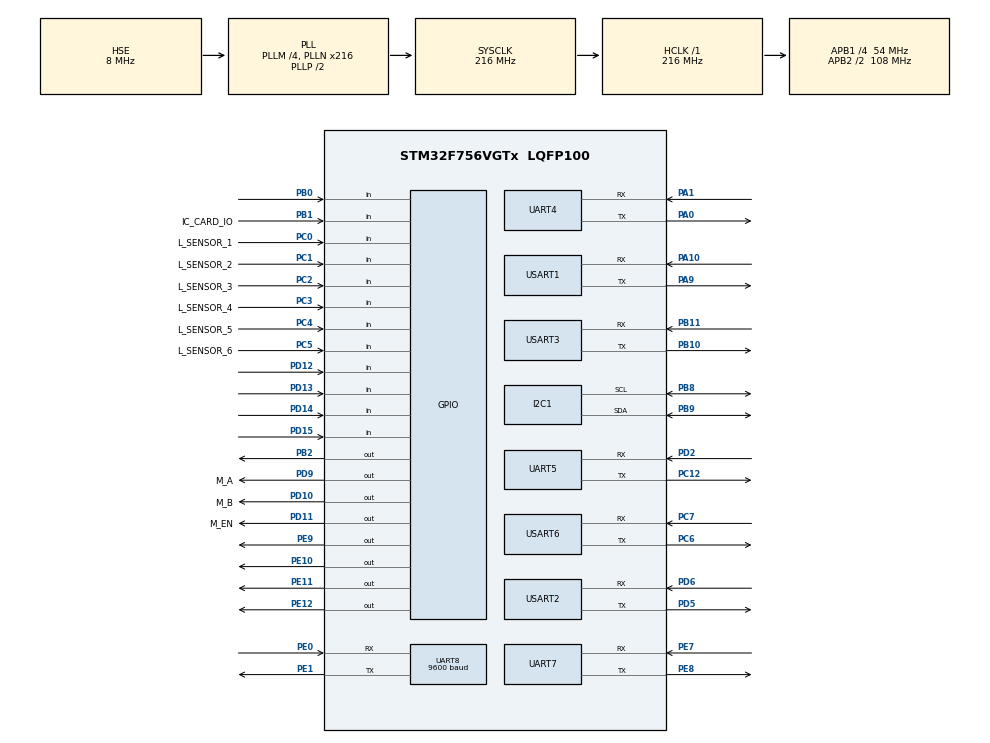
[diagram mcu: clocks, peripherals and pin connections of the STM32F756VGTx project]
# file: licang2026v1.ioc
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CORTEX_M7.default_mode_Activation=1
Dma.Request0=UART7_RX
Dma.Request1=UART8_RX
Dma.Request2=USART1_RX
Dma.Request3=USART2_RX
Dma.Request4=USART3_TX
Dma.Request5=USART3_RX
Dma.Request6=UART4_RX
Dma.Request7=UART5_RX
Dma.Request8=USART6_RX
Dma.UART4_RX.6.Direction=DMA_PERIPH_TO_MEMORY
Dma.UART4_RX.6.FIFOMode=DMA_FIFOMODE_DISABLE
Dma.UART4_RX.6.Instance=DMA1_Stream2
Dma.UART4_RX.6.MemDataAlignment=DMA_MDATAALIGN_BYTE
Dma.UART4_RX.6.MemInc=DMA_MINC_ENABLE
Dma.UART4_RX.6.Mode=DMA_NORMAL
Dma.UART4_RX.6.PeriphDataAlignment=DMA_PDATAALIGN_BYTE
Dma.UART4_RX.6.PeriphInc=DMA_PINC_DISABLE
Dma.UART4_RX.6.Priority=DMA_PRIORITY_LOW
Dma.UART5_RX.7.Direction=DMA_PERIPH_TO_MEMORY
Dma.UART5_RX.7.FIFOMode=DMA_FIFOMODE_DISABLE
Dma.UART5_RX.7.Instance=DMA1_Stream0
Dma.UART5_RX.7.MemDataAlignment=DMA_MDATAALIGN_BYTE
Dma.UART5_RX.7.MemInc=DMA_MINC_ENABLE
Dma.UART5_RX.7.Mode=DMA_NORMAL
Dma.UART5_RX.7.PeriphDataAlignment=DMA_PDATAALIGN_BYTE
Dma.UART5_RX.7.PeriphInc=DMA_PINC_DISABLE
Dma.UART5_RX.7.Priority=DMA_PRIORITY_LOW
Dma.UART7_RX.0.Direction=DMA_PERIPH_TO_MEMORY
Dma.UART7_RX.0.FIFOMode=DMA_FIFOMODE_DISABLE
Dma.UART7_RX.0.Instance=DMA1_Stream3
Dma.UART7_RX.0.MemDataAlignment=DMA_MDATAALIGN_BYTE
Dma.UART7_RX.0.MemInc=DMA_MINC_ENABLE
Dma.UART7_RX.0.Mode=DMA_NORMAL
Dma.UART7_RX.0.PeriphDataAlignment=DMA_PDATAALIGN_BYTE
Dma.UART7_RX.0.PeriphInc=DMA_PINC_DISABLE
Dma.UART7_RX.0.Priority=DMA_PRIORITY_LOW
Dma.UART8_RX.1.Direction=DMA_PERIPH_TO_MEMORY
Dma.UART8_RX.1.FIFOMode=DMA_FIFOMODE_DISABLE
Dma.UART8_RX.1.Instance=DMA1_Stream6
Dma.UART8_RX.1.MemDataAlignment=DMA_MDATAALIGN_BYTE
Dma.UART8_RX.1.MemInc=DMA_MINC_ENABLE
Dma.UART8_RX.1.Mode=DMA_NORMAL
Dma.UART8_RX.1.PeriphDataAlignment=DMA_PDATAALIGN_BYTE
Dma.UART8_RX.1.PeriphInc=DMA_PINC_DISABLE
Dma.UART8_RX.1.Priority=DMA_PRIORITY_LOW
Dma.USART1_RX.2.Direction=DMA_PERIPH_TO_MEMORY
Dma.USART1_RX.2.FIFOMode=DMA_FIFOMODE_DISABLE
Dma.USART1_RX.2.Instance=DMA2_Stream2
Dma.USART1_RX.2.MemDataAlignment=DMA_MDATAALIGN_BYTE
Dma.USART1_RX.2.MemInc=DMA_MINC_ENABLE
Dma.USART1_RX.2.Mode=DMA_NORMAL
Dma.USART1_RX.2.PeriphDataAlignment=DMA_PDATAALIGN_BYTE
Dma.USART1_RX.2.PeriphInc=DMA_PINC_DISABLE
Dma.USART1_RX.2.Priority=DMA_PRIORITY_LOW
Dma.USART2_RX.3.Direction=DMA_PERIPH_TO_MEMORY
Dma.USART2_RX.3.FIFOMode=DMA_FIFOMODE_DISABLE
Dma.USART2_RX.3.Instance=DMA1_Stream5
Dma.USART2_RX.3.MemDataAlignment=DMA_MDATAALIGN_BYTE
Dma.USART2_RX.3.MemInc=DMA_MINC_ENABLE
Dma.USART2_RX.3.Mode=DMA_NORMAL
Dma.USART2_RX.3.PeriphDataAlignment=DMA_PDATAALIGN_BYTE
Dma.USART2_RX.3.PeriphInc=DMA_PINC_DISABLE
Dma.USART2_RX.3.Priority=DMA_PRIORITY_LOW
Dma.USART3_RX.5.Direction=DMA_PERIPH_TO_MEMORY
Dma.USART3_RX.5.FIFOMode=DMA_FIFOMODE_DISABLE
Dma.USART3_RX.5.Instance=DMA1_Stream1
Dma.USART3_RX.5.MemDataAlignment=DMA_MDATAALIGN_BYTE
Dma.USART3_RX.5.MemInc=DMA_MINC_ENABLE
Dma.USART3_RX.5.Mode=DMA_NORMAL
Dma.USART3_RX.5.PeriphDataAlignment=DMA_PDATAALIGN_BYTE
Dma.USART3_RX.5.PeriphInc=DMA_PINC_DISABLE
Dma.USART3_RX.5.Priority=DMA_PRIORITY_LOW
Dma.USART3_TX.4.Direction=DMA_MEMORY_TO_PERIPH
Dma.USART3_TX.4.FIFOMode=DMA_FIFOMODE_DISABLE
Dma.USART3_TX.4.Instance=DMA1_Stream4
Dma.USART3_TX.4.MemDataAlignment=DMA_MDATAALIGN_BYTE
Dma.USART3_TX.4.MemInc=DMA_MINC_ENABLE
Dma.USART3_TX.4.Mode=DMA_NORMAL
Dma.USART3_TX.4.PeriphDataAlignment=DMA_PDATAALIGN_BYTE
Dma.USART3_TX.4.PeriphInc=DMA_PINC_DISABLE
Dma.USART3_TX.4.Priority=DMA_PRIORITY_LOW
Dma.USART6_RX.8.Direction=DMA_PERIPH_TO_MEMORY
Dma.USART6_RX.8.FIFOMode=DMA_FIFOMODE_DISABLE
Dma.USART6_RX.8.Instance=DMA2_Stream1
Dma.USART6_RX.8.MemDataAlignment=DMA_MDATAALIGN_BYTE
Dma.USART6_RX.8.MemInc=DMA_MINC_ENABLE
Dma.USART6_RX.8.Mode=DMA_NORMAL
Dma.USART6_RX.8.PeriphDataAlignment=DMA_PDATAALIGN_BYTE
Dma.USART6_RX.8.PeriphInc=DMA_PINC_DISABLE
Dma.USART6_RX.8.Priority=DMA_PRIORITY_LOW
FREERTOS.Tasks01=defaultTask,24,512,StartDefaultTask,Default,NULL,Dynamic,NULL,NULL
FREERTOS.configTOTAL_HEAP_SIZE=60000
I2C1.Timing=0x20404768
Mcu.Family=STM32F7
Mcu.Name=STM32F756VGTx
Mcu.Package=LQFP100
NVIC.DMA1_Stream0_IRQn=true\:5\:0\:false\:false\:true\:true\:false\:true\:true
NVIC.DMA1_Stream1_IRQn=true\:5\:0\:false\:false\:true\:true\:false\:true\:true
NVIC.DMA1_Stream2_IRQn=true\:5\:0\:false\:false\:true\:true\:false\:true\:true
NVIC.DMA1_Stream3_IRQn=true\:5\:0\:false\:false\:true\:true\:false\:true\:true
NVIC.DMA1_Stream4_IRQn=true\:5\:0\:false\:false\:true\:true\:false\:true\:true
NVIC.DMA1_Stream5_IRQn=true\:5\:0\:false\:false\:true\:true\:false\:true\:true
NVIC.DMA1_Stream6_IRQn=true\:5\:0\:false\:false\:true\:true\:false\:true\:true
NVIC.DMA2_Stream1_IRQn=true\:5\:0\:false\:false\:true\:true\:false\:true\:true
NVIC.DMA2_Stream2_IRQn=true\:5\:0\:false\:false\:true\:true\:false\:true\:true
NVIC.PriorityGroup=NVIC_PRIORITYGROUP_4
NVIC.TIM4_IRQn=true\:15\:0\:false\:false\:true\:false\:false\:true\:true
NVIC.TimeBase=TIM4_IRQn
NVIC.TimeBaseIP=TIM4
NVIC.UART4_IRQn=true\:5\:0\:false\:false\:true\:true\:true\:true\:true
NVIC.UART5_IRQn=true\:5\:0\:false\:false\:true\:true\:true\:true\:true
NVIC.UART7_IRQn=true\:5\:0\:false\:false\:true\:true\:true\:true\:true
NVIC.UART8_IRQn=true\:5\:0\:false\:false\:true\:true\:true\:true\:true
NVIC.USART1_IRQn=true\:5\:0\:false\:false\:true\:true\:true\:true\:true
NVIC.USART2_IRQn=true\:5\:0\:false\:false\:true\:true\:true\:true\:true
NVIC.USART3_IRQn=true\:5\:0\:false\:false\:true\:true\:true\:true\:true
NVIC.USART6_IRQn=true\:5\:0\:false\:false\:true\:true\:true\:true\:true
PA0/WKUP.Mode=Asynchronous
PA0/WKUP.Signal=UART4_TX
PA1.Mode=Asynchronous
PA1.Signal=UART4_RX
PA10.Mode=Asynchronous
PA10.Signal=USART1_RX
PA13.Mode=Serial_Wire
PA13.Signal=SYS_JTMS-SWDIO
PA14.Mode=Serial_Wire
PA14.Signal=SYS_JTCK-SWCLK
PA9.Mode=Asynchronous
PA9.Signal=USART1_TX
PB0.GPIO_PuPd=GPIO_PULLUP
PB0.Signal=GPIO_Input
PB1.GPIO_Label=IC_CARD_IO
PB1.Signal=GPIO_Input
PB10.Mode=Asynchronous
PB10.Signal=USART3_TX
PB11.Mode=Asynchronous
PB11.Signal=USART3_RX
PB2.PinState=GPIO_PIN_SET
PB2.Signal=GPIO_Output
PB8.Mode=I2C
PB8.Signal=I2C1_SCL
PB9.Mode=I2C
PB9.Signal=I2C1_SDA
PC0.GPIO_Label=L_SENSOR_1
PC0.GPIO_PuPd=GPIO_PULLUP
PC0.Signal=GPIO_Input
PC1.GPIO_Label=L_SENSOR_2
PC1.GPIO_PuPd=GPIO_PULLUP
PC1.Signal=GPIO_Input
PC12.Mode=Asynchronous
PC12.Signal=UART5_TX
PC2.GPIO_Label=L_SENSOR_3
PC2.GPIO_PuPd=GPIO_PULLUP
PC2.Signal=GPIO_Input
PC3.GPIO_Label=L_SENSOR_4
PC3.GPIO_PuPd=GPIO_PULLUP
PC3.Signal=GPIO_Input
PC4.GPIO_Label=L_SENSOR_5
PC4.GPIO_PuPd=GPIO_PULLUP
PC4.Signal=GPIO_Input
PC5.GPIO_Label=L_SENSOR_6
PC5.GPIO_PuPd=GPIO_PULLUP
PC5.Signal=GPIO_Input
PC6.Mode=Asynchronous
PC6.Signal=USART6_TX
PC7.Mode=Asynchronous
PC7.Signal=USART6_RX
PD10.GPIO_Label=M_B
PD10.Signal=GPIO_Output
PD11.GPIO_Label=M_EN
PD11.PinState=GPIO_PIN_SET
PD11.Signal=GPIO_Output
PD12.Signal=GPIO_Input
PD13.Signal=GPIO_Input
PD14.Signal=GPIO_Input
PD15.Signal=GPIO_Input
PD2.Mode=Asynchronous
PD2.Signal=UART5_RX
PD5.Mode=Asynchronous
PD5.Signal=USART2_TX
PD6.Mode=Asynchronous
PD6.Signal=USART2_RX
PD9.GPIO_Label=M_A
PD9.Signal=GPIO_Output
PE0.Mode=Asynchronous
PE0.Signal=UART8_RX
PE1.Mode=Asynchronous
PE1.Signal=UART8_TX
PE10.GPIO_ModeDefaultOutputPP=GPIO_MODE_OUTPUT_PP
PE10.GPIO_PuPd=GPIO_NOPULL
PE10.PinState=GPIO_PIN_SET
PE10.Signal=GPIO_Output
PE11.GPIO_ModeDefaultOutputPP=GPIO_MODE_OUTPUT_PP
PE11.GPIO_PuPd=GPIO_NOPULL
PE11.PinState=GPIO_PIN_SET
PE11.Signal=GPIO_Output
PE12.GPIO_ModeDefaultOutputPP=GPIO_MODE_OUTPUT_PP
PE12.GPIO_PuPd=GPIO_NOPULL
PE12.PinState=GPIO_PIN_SET
PE12.Signal=GPIO_Output
PE7.Mode=Asynchronous
PE7.Signal=UART7_RX
PE8.Mode=Asynchronous
PE8.Signal=UART7_TX
PE9.GPIO_ModeDefaultOutputPP=GPIO_MODE_OUTPUT_OD
PE9.GPIO_PuPd=GPIO_NOPULL
PE9.PinState=GPIO_PIN_SET
PE9.Signal=GPIO_Output
PH0/OSC_IN.Mode=HSE-External-Oscillator
PH0/OSC_IN.Signal=RCC_OSC_IN
PH1/OSC_OUT.Mode=HSE-External-Oscillator
PH1/OSC_OUT.Signal=RCC_OSC_OUT
ProjectManager.HeapSize=0x200
ProjectManager.StackSize=0x400
ProjectManager.TargetToolchain=MDK-ARM V5.32
RCC.AHBFreq_Value=216000000
RCC.APB1CLKDivider=RCC_HCLK_DIV4
RCC.APB1Freq_Value=54000000
RCC.APB1TimFreq_Value=108000000
RCC.APB2CLKDivider=RCC_HCLK_DIV2
RCC.APB2Freq_Value=108000000
RCC.APB2TimFreq_Value=216000000
RCC.CortexFreq_Value=216000000
RCC.HCLKFreq_Value=216000000
RCC.HSE_VALUE=8000000
RCC.HSI_VALUE=16000000
RCC.LSE_VALUE=32768
RCC.PLLM=4
RCC.PLLN=216
RCC.PLLSourceVirtual=RCC_PLLSOURCE_HSE
RCC.SYSCLKFreq_VALUE=216000000
RCC.SYSCLKSource=RCC_SYSCLKSOURCE_PLLCLK
RCC.USBFreq_Value=216000000
RCC.VCOOutputFreq_Value=432000000
UART8.BaudRate=9600
USART1.VirtualMode-Asynchronous=VM_ASYNC
USART2.VirtualMode-Asynchronous=VM_ASYNC
USART3.VirtualMode-Asynchronous=VM_ASYNC
USART6.VirtualMode=VM_ASYNC
VP_FREERTOS_VS_CMSIS_V2.Mode=CMSIS_V2
VP_SYS_VS_tim4.Mode=TIM4
board=custom

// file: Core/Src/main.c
/* USER CODE BEGIN Header */
/**
  ******************************************************************************
  * @file           : main.c
  * @brief          : Main program body
  ******************************************************************************
  * @attention
  *
  * Copyright (c) 2026 STMicroelectronics.
  * All rights reserved.
  *
  * This software is licensed under terms that can be found in the LICENSE file
  * in the root directory of this software component.
  * If no LICENSE file comes with this software, it is provided AS-IS.
  *
  ******************************************************************************
  */
/* USER CODE END Header */
#include "main.h"
#include "cmsis_os.h"
#include "dma.h"
#include "i2c.h"
#include "usart.h"
#include "gpio.h"

/* USER CODE BEGIN Includes */
#include "test_config.h"

#if MULT_UART_BAREMETAL_TEST_ENABLED
#include "mult_uart_baremetal_test.h"
#endif

#if LSC16_BAREMETAL_TEST_ENABLED
#include "lsc16_baremetal_test.h"
#endif

#if IC_CARD_BAREMETAL_TEST_ENABLED
#include "ic_card_baremetal_test.h"
#endif

#if ZDT_TURNTABLE_BAREMETAL_TEST_ENABLED
#include "zdt_turntable_baremetal_test.h"
#endif

/* USER CODE END Includes */

void SystemClock_Config(void);
static void MPU_Config(void);
void MX_FREERTOS_Init(void);

int main(void)
{

  /* MPU Configuration--------------------------------------------------------*/
  MPU_Config();

  /* MCU Configuration--------------------------------------------------------*/

  /* Reset of all peripherals, Initializes the Flash interface and the Systick. */
  HAL_Init();

  /* Configure the system clock */
  SystemClock_Config();

  /* Initialize all configured peripherals */
  MX_GPIO_Init();
  MX_DMA_Init();
  MX_UART7_Init();
  MX_UART8_Init();
  MX_UART4_Init();
  MX_UART5_Init();
  MX_USART3_UART_Init();
  MX_USART6_UART_Init();
  MX_USART1_UART_Init();
  MX_USART2_UART_Init();
  MX_I2C1_Init();
  /* USER CODE BEGIN 2 */

#if MULT_UART_BAREMETAL_TEST_ENABLED
  /*
   * 裸机测试在调度器初始化之前独占UART7复用总线。
   * 开关关闭时整段代码被预处理器移除，不影响正式启动路径。
   */
  if (mult_uart_baremetal_test_init() != MULT_UART_OK)
  {
    Error_Handler();
  }

  while (1)
  {
    mult_uart_baremetal_test_process();
  }
#endif

#if LSC16_BAREMETAL_TEST_ENABLED
  /*
   * LSC16裸机测试在调度器启动前独占UART8。测试状态机和协议均位于05_Test
   * 与04_Bsp，main.c只保留装配入口，避免把临时运动逻辑混入正式启动流程。
   */
  if (lsc16_baremetal_test_init() != LSC16_OK)
  {
    Error_Handler();
  }

  while (1)
  {
    lsc16_baremetal_test_process();
  }
#endif

#if IC_CARD_BAREMETAL_TEST_ENABLED
  /*
   * IC卡裸机测试直连UART7，USART1只接电脑串口助手。测试状态机完全位于
   * 05_Test，main.c仅保留初始化和循环入口，避免临时协议污染正式App。
   */
  if (ic_card_baremetal_test_init() != IC_CARD_OK)
  {
    Error_Handler();
  }

  while (1)
  {
    ic_card_baremetal_test_process();
  }
#endif

#if ZDT_TURNTABLE_BAREMETAL_TEST_ENABLED
  /* ZDT独立测试直连UART7；协议、事务和运动配置全部位于分层模块与05_Test。 */
  if (zdt_turntable_baremetal_test_init() != ZDT_TURNTABLE_OK)
  {
    Error_Handler();
  }

  while (1)
  {
    zdt_turntable_baremetal_test_process();
  }
#endif

  /* USER CODE END 2 */

  /* Init scheduler */
  osKernelInitialize();  /* Call init function for freertos objects (in cmsis_os2.c) */
  MX_FREERTOS_Init();

  /* Start scheduler */
  osKernelStart();

  /* We should never get here as control is now taken by the scheduler */

  /* Infinite loop */
  while (1)
  {

  }
}

void SystemClock_Config(void)
{
  RCC_OscInitTypeDef RCC_OscInitStruct = {0};
  RCC_ClkInitTypeDef RCC_ClkInitStruct = {0};

  /** Configure the main internal regulator output voltage
  */
  __HAL_RCC_PWR_CLK_ENABLE();
  __HAL_PWR_VOLTAGESCALING_CONFIG(PWR_REGULATOR_VOLTAGE_SCALE1);

  /** Initializes the RCC Oscillators according to the specified parameters
  * in the RCC_OscInitTypeDef structure.
  */
  RCC_OscInitStruct.OscillatorType = RCC_OSCILLATORTYPE_HSE;
  RCC_OscInitStruct.HSEState = RCC_HSE_ON;
  RCC_OscInitStruct.PLL.PLLState = RCC_PLL_ON;
  RCC_OscInitStruct.PLL.PLLSource = RCC_PLLSOURCE_HSE;
  RCC_OscInitStruct.PLL.PLLM = 4;
  RCC_OscInitStruct.PLL.PLLN = 216;
  RCC_OscInitStruct.PLL.PLLP = RCC_PLLP_DIV2;
  RCC_OscInitStruct.PLL.PLLQ = 2;
  if (HAL_RCC_OscConfig(&RCC_OscInitStruct) != HAL_OK)
  {
    Error_Handler();
  }

  /** Activate the Over-Drive mode
  */
  if (HAL_PWREx_EnableOverDrive() != HAL_OK)
  {
    Error_Handler();
  }

  /** Initializes the CPU, AHB and APB buses clocks
  */
  RCC_ClkInitStruct.ClockType = RCC_CLOCKTYPE_HCLK|RCC_CLOCKTYPE_SYSCLK
                              |RCC_CLOCKTYPE_PCLK1|RCC_CLOCKTYPE_PCLK2;
  RCC_ClkInitStruct.SYSCLKSource = RCC_SYSCLKSOURCE_PLLCLK;
  RCC_ClkInitStruct.AHBCLKDivider = RCC_SYSCLK_DIV1;
  RCC_ClkInitStruct.APB1CLKDivider = RCC_HCLK_DIV4;
  RCC_ClkInitStruct.APB2CLKDivider = RCC_HCLK_DIV2;

  if (HAL_RCC_ClockConfig(&RCC_ClkInitStruct, FLASH_LATENCY_7) != HAL_OK)
  {
    Error_Handler();
  }
}

 /* MPU Configuration */

void MPU_Config(void)
{
  MPU_Region_InitTypeDef MPU_InitStruct = {0};

  /* Disables the MPU */
  HAL_MPU_Disable();

  /** Initializes and configures the Region and the memory to be protected
  */
  MPU_InitStruct.Enable = MPU_REGION_ENABLE;
  MPU_InitStruct.Number = MPU_REGION_NUMBER0;
  MPU_InitStruct.BaseAddress = 0x0;
  MPU_InitStruct.Size = MPU_REGION_SIZE_4GB;
  MPU_InitStruct.SubRegionDisable = 0x87;
  MPU_InitStruct.TypeExtField = MPU_TEX_LEVEL0;
  MPU_InitStruct.AccessPermission = MPU_REGION_NO_ACCESS;
  MPU_InitStruct.DisableExec = MPU_INSTRUCTION_ACCESS_DISABLE;
  MPU_InitStruct.IsShareable = MPU_ACCESS_SHAREABLE;
  MPU_InitStruct.IsCacheable = MPU_ACCESS_NOT_CACHEABLE;
  MPU_InitStruct.IsBufferable = MPU_ACCESS_NOT_BUFFERABLE;

  HAL_MPU_ConfigRegion(&MPU_InitStruct);
  /* Enables the MPU */
  HAL_MPU_Enable(MPU_PRIVILEGED_DEFAULT);

}

void HAL_TIM_PeriodElapsedCallback(TIM_HandleTypeDef *htim)
{
  if (htim->Instance == TIM4)
  {
    HAL_IncTick();
  }
}

void Error_Handler(void)
{
  __disable_irq();
  while (1)
  {
  }
}

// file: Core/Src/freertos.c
/* USER CODE BEGIN Header */
/**
  ******************************************************************************
  * File Name          : freertos.c
  * Description        : Code for freertos applications
  ******************************************************************************
  * @attention
  *
  * Copyright (c) 2026 STMicroelectronics.
  * All rights reserved.
  *
  * This software is licensed under terms that can be found in the LICENSE file
  * in the root directory of this software component.
  * If no LICENSE file comes with this software, it is provided AS-IS.
  *
  ******************************************************************************
  */
/* USER CODE END Header */

#include "FreeRTOS.h"
#include "task.h"
#include "main.h"
#include "cmsis_os.h"

/* USER CODE BEGIN Includes */
#include "mux_service.h"
#include "test_config.h"
#include "chassis_mission_link.h"
#include "../01_App/mission/mission_app.h"
#include "../01_App/mission/mission_config.h"

#if MULT_UART_FREERTOS_TEST_ENABLED
#include "mult_uart_freertos_test.h"
#endif

#if MULT_UART_MODULES_FREERTOS_TEST_ENABLED
#include "mult_uart_modules_freertos_test.h"
#endif

#if TURNTABLE_GRASP_LITE_FREERTOS_TEST_ENABLED
#include "turntable_grasp_lite_freertos_test.h"
#endif

#include "arm.h"

#if LSC16_FREERTOS_TEST_ENABLED
#include "lsc16_freertos_test.h"
#endif

#if IC_CARD_FREERTOS_TEST_ENABLED
#include "ic_card_service.h"
#include "ic_card_freertos_test.h"
#endif

#if ZDT_TURNTABLE_FREERTOS_TEST_ENABLED
#include "zdt_turntable_freertos_test.h"
#endif

#if LICANG_ACTIVE_TEST == LICANG_TEST_NONE
#include "chassis_bridge.h"
#endif

/* USER CODE END Includes */

/* Definitions for defaultTask */
osThreadId_t defaultTaskHandle;
const osThreadAttr_t defaultTask_attributes = {
  .name = "defaultTask",
  .stack_size = 512 * 4,
  .priority = (osPriority_t) osPriorityNormal,
};

void StartDefaultTask(void *argument);

void MX_FREERTOS_Init(void); /* (MISRA C 2004 rule 8.1) */

void MX_FREERTOS_Init(void) {
  /* USER CODE BEGIN Init */

  /*
   * CubeMX外设初始化已在main.c完成；此处只装配UART7复用底层并创建
   * worker，不启动任何测试或业务demo。任务真正运行要等osKernelStart()。
   */
#if !IC_CARD_FREERTOS_TEST_ENABLED && !ZDT_TURNTABLE_FREERTOS_TEST_ENABLED
  if (mux_init() != MULT_UART_OK)
  {
    Error_Handler();
  }

  /*
   * UART8舵控板与UART7复用器物理独立。机械臂Service在此完成装配，
   * 以验证动作组10(安全姿态)、11(识别姿态)和12(抓取放置)的单球闭环。
   */
  /* [lyx] 无线测试允许机械臂缺席，其他模式仍要求初始化成功。 */
  if (arm_init() != LSC16_OK)
  {
#if (LICANG_ACTIVE_TEST != LICANG_TEST_NONE) || !MISSION_CHASSIS_ROUTE_TEST_ENABLED
    Error_Handler();
#endif
  }
#elif IC_CARD_FREERTOS_TEST_ENABLED
  /* IC卡直连测试独占UART7，因此不能同时初始化复用总线的HAL adapter。 */
  if (ic_service_init() != IC_CARD_OK)
  {
    Error_Handler();
  }
#else
  /* ZDT直连测试在自己的测试装配中建立UART7 Service，不初始化其他所有者。 */
#endif

#if MULT_UART_FREERTOS_TEST_ENABLED
  /*
   * 测试任务只通过事务Service使用复用总线，不直接操作
   * HAL、DMA或A/B/EN。这可以同时验证完整FreeRTOS分层链路。
   */
  if (mult_uart_freertos_test_init() != MULT_UART_OK)
  {
    Error_Handler();
  }
#endif

#if LSC16_FREERTOS_TEST_ENABLED
  if (lsc16_freertos_test_init() != LSC16_OK)
  {
    Error_Handler();
  }
#endif

#if MULT_UART_MODULES_FREERTOS_TEST_ENABLED
  /* USART1命令任务通过复用Service测试通道1 IC卡和通道2 ZDT。 */
  if (mult_uart_modules_freertos_test_init() != MULT_UART_OK)
  {
    Error_Handler();
  }
#endif

#if TURNTABLE_GRASP_LITE_FREERTOS_TEST_ENABLED
  if (turntable_grasp_lite_freertos_test_init() != MULT_UART_OK)
  {
    Error_Handler();
  }
#endif

#if IC_CARD_FREERTOS_TEST_ENABLED
  if (ic_card_freertos_test_init() != IC_CARD_OK)
  {
    Error_Handler();
  }
#endif

#if ZDT_TURNTABLE_FREERTOS_TEST_ENABLED
  if (zdt_turntable_freertos_test_init() != ZDT_TURNTABLE_OK)
  {
    Error_Handler();
  }
#endif

#if LICANG_ACTIVE_TEST == LICANG_TEST_NONE
  /*
   * lhy底盘：内核启动前只登记huart2/3/4/5/6的UART路由；电机握手等阻塞装配
   * 在defaultTask中由chassis_bridge_boot()完成。测试场景下不编译，避免与
   * debug_uart1等夹具争抢UART。
   */
  if (chassis_bridge_init() != CHASSIS_BRIDGE_OK)
  {
    Error_Handler();
  }

  if (!chassis_mission_link_init())
  {
    Error_Handler();
  }

  if (mission_app_init() != MISSION_APP_OK)
  {
    Error_Handler();
  }
#endif

  /* USER CODE END Init */

  /* Create the thread(s) */
  /* creation of defaultTask */
  defaultTaskHandle = osThreadNew(StartDefaultTask, NULL, &defaultTask_attributes);

}

void StartDefaultTask(void *argument)
{
  /* USER CODE BEGIN StartDefaultTask */
  (void)argument;

#if LICANG_ACTIVE_TEST == LICANG_TEST_NONE
  /* app_init()阻塞到四轮握手完成，失败不影响其他子系统，因此不进Error_Handler。 */
  (void)chassis_bridge_boot();
#endif

  /* Infinite loop */
  for(;;)
  {
    osDelay(1000);
  }
  /* USER CODE END StartDefaultTask */
}
